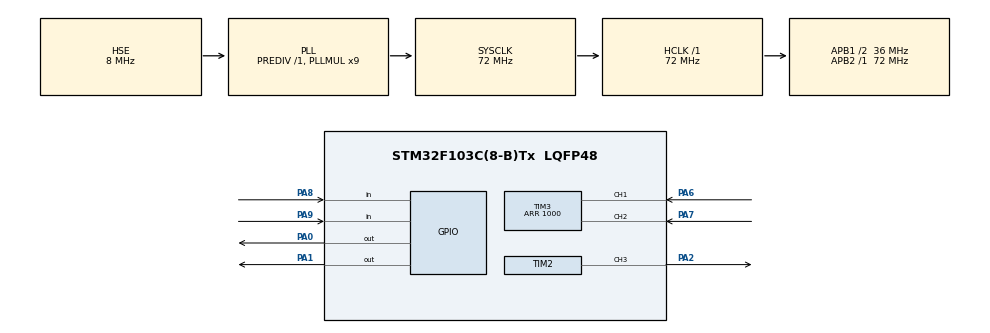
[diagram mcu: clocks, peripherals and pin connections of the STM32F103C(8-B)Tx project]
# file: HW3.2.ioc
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Mcu.Family=STM32F1
Mcu.Name=STM32F103C(8-B)Tx
Mcu.Package=LQFP48
NVIC.PriorityGroup=NVIC_PRIORITYGROUP_4
PA0-WKUP.Signal=GPIO_Output
PA1.Signal=GPIO_Output
PA13.Mode=Serial_Wire
PA13.Signal=SYS_JTMS-SWDIO
PA14.Mode=Serial_Wire
PA14.Signal=SYS_JTCK-SWCLK
PA2.Signal=S_TIM2_CH3
PA6.Signal=S_TIM3_CH1
PA7.Signal=S_TIM3_CH2
PA8.GPIO_PuPd=GPIO_PULLUP
PA8.Signal=GPIO_Input
PA9.GPIO_PuPd=GPIO_PULLUP
PA9.Signal=GPIO_Input
PD0-OSC_IN.Mode=HSE-External-Oscillator
PD0-OSC_IN.Signal=RCC_OSC_IN
PD1-OSC_OUT.Mode=HSE-External-Oscillator
PD1-OSC_OUT.Signal=RCC_OSC_OUT
ProjectManager.HeapSize=0x200
ProjectManager.StackSize=0x400
ProjectManager.TargetToolchain=MDK-ARM V5.32
RCC.AHBFreq_Value=72000000
RCC.APB1CLKDivider=RCC_HCLK_DIV2
RCC.APB1Freq_Value=36000000
RCC.APB1TimFreq_Value=72000000
RCC.APB2Freq_Value=72000000
RCC.APB2TimFreq_Value=72000000
RCC.HCLKFreq_Value=72000000
RCC.PLLMUL=RCC_PLL_MUL9
RCC.PLLSourceVirtual=RCC_PLLSOURCE_HSE
RCC.SYSCLKFreq_VALUE=72000000
RCC.SYSCLKSource=RCC_SYSCLKSOURCE_PLLCLK
RCC.USBFreq_Value=72000000
SH.S_TIM2_CH3.0=TIM2_CH3,PWM Generation3 CH3
SH.S_TIM3_CH1.0=TIM3_CH1,Encoder_Interface
SH.S_TIM3_CH2.0=TIM3_CH2,Encoder_Interface
TIM2.Channel-PWM\ Generation3\ CH3=TIM_CHANNEL_3
TIM2.Period=99
TIM2.Prescaler=35
TIM3.Period=1000
board=custom

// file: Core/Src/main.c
/* USER CODE BEGIN Header */
/**
  ******************************************************************************
  * @file           : main.c
  * @brief          : Main program body
  ******************************************************************************
  * @attention
  *
  * Copyright (c) 2026 STMicroelectronics.
  * All rights reserved.
  *
  * This software is licensed under terms that can be found in the LICENSE file
  * in the root directory of this software component.
  * If no LICENSE file comes with this software, it is provided AS-IS.
  *
  ******************************************************************************
  */
/* USER CODE END Header */
#include "main.h"
#include "tim.h"
#include "gpio.h"

/* USER CODE BEGIN Includes */
#include "OLED.h"
/* USER CODE END Includes */

/* USER CODE BEGIN PV */
uint16_t motor_speed=300;
uint16_t duty=100;
void Motor_Forward(uint16_t speed)
 {
     HAL_GPIO_WritePin(GPIOA, GPIO_PIN_0, GPIO_PIN_SET);
     HAL_GPIO_WritePin(GPIOA, GPIO_PIN_1, GPIO_PIN_RESET);
     __HAL_TIM_SET_COMPARE(&htim2, TIM_CHANNEL_3, speed);
 }
void Motor_Backward(uint16_t speed)
 {
     HAL_GPIO_WritePin(GPIOA, GPIO_PIN_0, GPIO_PIN_RESET);
     HAL_GPIO_WritePin(GPIOA, GPIO_PIN_1, GPIO_PIN_SET);
     __HAL_TIM_SET_COMPARE(&htim2, TIM_CHANNEL_3, speed);

}
/* USER CODE END PV */

void SystemClock_Config(void);

int main(void)
{

  /* MCU Configuration--------------------------------------------------------*/

  /* Reset of all peripherals, Initializes the Flash interface and the Systick. */
  HAL_Init();

  /* Configure the system clock */
  SystemClock_Config();

  /* Initialize all configured peripherals */
  MX_GPIO_Init();
  MX_TIM3_Init();
  MX_TIM2_Init();
  /* USER CODE BEGIN 2 */
  HAL_TIM_Encoder_Start(&htim3,TIM_CHANNEL_1);
	HAL_TIM_Encoder_Start(&htim3,TIM_CHANNEL_2);
	OLED_Init();
	HAL_TIM_PWM_Start(&htim2,TIM_CHANNEL_3);
	__HAL_TIM_SET_COMPARE(&htim2,TIM_CHANNEL_3,motor_speed);
  /* USER CODE END 2 */

  /* Infinite loop */
  /* USER CODE BEGIN WHILE */
  while (1)
  {
		uint16_t cnt = __HAL_TIM_GET_COUNTER(&htim3);
		OLED_ShowString(2,1,"CNT:");
		OLED_ShowNum(2,5,cnt,4);
		if(HAL_GPIO_ReadPin(GPIOA,GPIO_PIN_8)==RESET){
		Motor_Forward(900);
		}
		if(HAL_GPIO_ReadPin(GPIOA,GPIO_PIN_9)==RESET){
		Motor_Backward(900);
		}
		else if(HAL_GPIO_ReadPin(GPIOA,GPIO_PIN_8)==SET){
		motor_speed=cnt;
		__HAL_TIM_SET_COMPARE(&htim2,TIM_CHANNEL_3,motor_speed);
		Motor_Forward(motor_speed); }

    /* USER CODE END WHILE */

  }
}

void SystemClock_Config(void)
{
  RCC_OscInitTypeDef RCC_OscInitStruct = {0};
  RCC_ClkInitTypeDef RCC_ClkInitStruct = {0};

  /** Initializes the RCC Oscillators according to the specified parameters
  * in the RCC_OscInitTypeDef structure.
  */
  RCC_OscInitStruct.OscillatorType = RCC_OSCILLATORTYPE_HSE;
  RCC_OscInitStruct.HSEState = RCC_HSE_ON;
  RCC_OscInitStruct.HSEPredivValue = RCC_HSE_PREDIV_DIV1;
  RCC_OscInitStruct.HSIState = RCC_HSI_ON;
  RCC_OscInitStruct.PLL.PLLState = RCC_PLL_ON;
  RCC_OscInitStruct.PLL.PLLSource = RCC_PLLSOURCE_HSE;
  RCC_OscInitStruct.PLL.PLLMUL = RCC_PLL_MUL9;
  if (HAL_RCC_OscConfig(&RCC_OscInitStruct) != HAL_OK)
  {
    Error_Handler();
  }

  /** Initializes the CPU, AHB and APB buses clocks
  */
  RCC_ClkInitStruct.ClockType = RCC_CLOCKTYPE_HCLK|RCC_CLOCKTYPE_SYSCLK
                              |RCC_CLOCKTYPE_PCLK1|RCC_CLOCKTYPE_PCLK2;
  RCC_ClkInitStruct.SYSCLKSource = RCC_SYSCLKSOURCE_PLLCLK;
  RCC_ClkInitStruct.AHBCLKDivider = RCC_SYSCLK_DIV1;
  RCC_ClkInitStruct.APB1CLKDivider = RCC_HCLK_DIV2;
  RCC_ClkInitStruct.APB2CLKDivider = RCC_HCLK_DIV1;

  if (HAL_RCC_ClockConfig(&RCC_ClkInitStruct, FLASH_LATENCY_2) != HAL_OK)
  {
    Error_Handler();
  }
}

void Error_Handler(void)
{
  __disable_irq();
  while (1)
  {
  }
}
